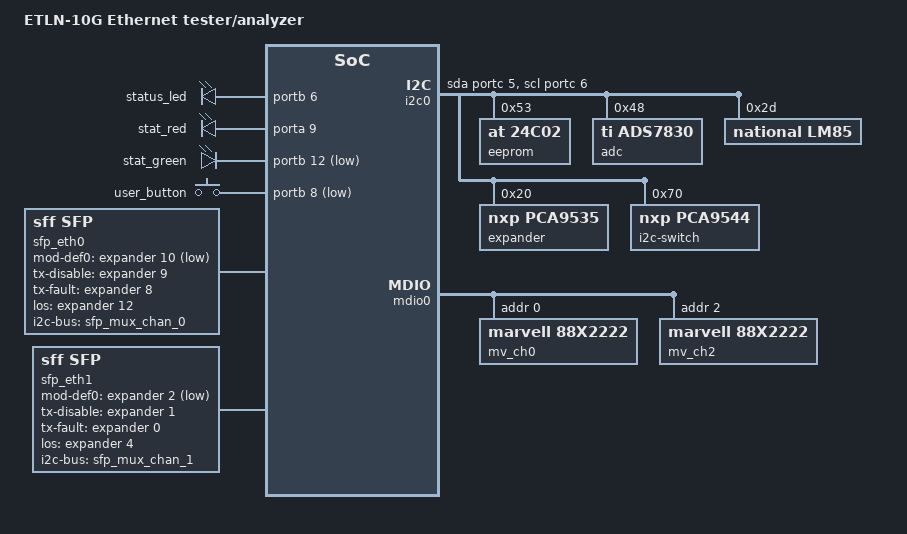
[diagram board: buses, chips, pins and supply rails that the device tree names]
/*
 * Copyright Altera Corporation (C) 2012,2014. All rights reserved.
 *
 * This program is free software; you can redistribute it and/or modify
 * it under the terms and conditions of the GNU General Public License,
 * version 2, as published by the Free Software Foundation.
 *
 * This program is distributed in the hope it will be useful, but WITHOUT
 * ANY WARRANTY; without even the implied warranty of MERCHANTABILITY or
 * FITNESS FOR A PARTICULAR PURPOSE.  See the GNU General Public License for
 * more details.
 *
 * You should have received a copy of the GNU General Public License along with
 * this program.  If not, see <http://www.gnu.org/licenses/>.
 */

#include "socfpga_cyclone5_stcmtk.dtsi"

/ {
	model = "ETLN-10G Ethernet tester/analyzer";

	cpu-gpio {
		compatible = "linux,gpio-exporter";
		status = "okay";
		exported-gpios = <&portb 19 GPIO_ACTIVE_HIGH>,
			<&portb 27 GPIO_ACTIVE_HIGH>,
			<&portb 22 GPIO_ACTIVE_HIGH>;
		exported-gpio-names = "sfpp-pwr-en",
			"devinfo-eeprom-write-protect",
			"smbus-alert";
		exported-gpio-directions = "high",
			"high",
			"in";
	};

	soc {
		ethernet@ff702000 {
			phy-mode = "rgmii-id";
		};

		i2c0: i2c@ffc04000 {
			scl-gpios = <&portc 6 GPIO_ACTIVE_HIGH>;
			sda-gpios = <&portc 5 GPIO_ACTIVE_HIGH>;

			eeprom@53 {
				compatible = "at,24c02";
				reg = <0x53>;
				status = "okay";
			};

			adc@48 {
				compatible = "ti,ads7830";
				reg = <0x48>;
				status = "okay";
			};

			lm85: lm85@2d {
				compatible = "national,lm85";
				reg = <0x2d>;
			};

			expander: pca9535@20 {
				compatible = "nxp,pca9535";
				gpio-controller;
				#gpio-cells = <2>;
				reg = <0x20>;
				pinctrl-names = "default";
				/*
				interrupt-parent = <&portb>;
				interrupts = <23 IRQ_TYPE_LEVEL_LOW>;
				interrupt-controller;
				#interrupt-cells = <2>;
				*/
			};

			i2c-switch@70 {
				compatible = "nxp,pca9544";
				#address-cells = <0x1>;
				#size-cells = <0x0>;
				reg = <0x70>;
				i2c-mux-idle-disconnect;

				/* The following two nodes describe I2C busses
				* located behind the MUX on channels 0 and 1
				* (indexed from 0).
				*/
				sfp_mux_chan_0: i2c@0 {
					#address-cells = <0x1>;
					#size-cells = <0x0>;
					reg = <0>;
				};

				sfp_mux_chan_1: i2c@1 {
					#address-cells = <0x1>;
					#size-cells = <0x0>;
					reg = <1>;
				};

				/* The following two nodes describe I2C mux
				* channels 2 and 3 (indexed from 0) that have
				* no devices connected to them.
				*
				* It would be great to disable them at all so
				* that they would not appear in sysfs but we
				* couldn't find an easy and obvious way to
				* achieve this.
				*/
				sfp_mux_chan_2: i2c@2 {
					#address-cells = <1>;
					#size-cells = <0>;
					reg = <2>;
				};
				sfp_mux_chan_3: i2c@3 {
					#address-cells = <1>;
					#size-cells = <0>;
					reg = <3>;
				};
			};

		};

		i2c1: i2c@ffc05000 {
			status = "disabled";
		};

		etn-port0 {
			compatible = "stcmtk,etln-10g";
			target-fpga = <&fpga>;
			port-num = <0>;
			phy-handle = <&mv_ch0>;
			phy-mode = "xaui";
			mac-address = [ 00 21 CE 01 00 01 ];
		};

		etn-port1 {
			compatible = "stcmtk,etln-10g";
			target-fpga = <&fpga>;
			port-num = <1>;
			phy-handle = <&mv_ch2>;
			phy-mode = "xaui";
			mac-address = [ 00 21 CE 01 00 02 ];
		};

		etn-phc@0 {
			reg = <0xc0020000 36>;
		};

		etn-phc@1 {
			reg = <0xc0020080 36>;
		};

		etn-phc-mux {
			reg = <0xc0020100 4>;
		};
	};


/*	etn-port0 {
		mac-address = [ 00 21 CE 01 00 01];
		compatible = "ethernet-phy-ieee802.3-c45";
		stcmtk,sfp-i2c-adapter = <&sfp_mux_chan_0>;
		stcmtk,sfp-mod-abs-gpio = <&expander 2 GPIO_ACTIVE_LOW>;
		stcmtk,sfp-tx-dis-gpio = <&expander 1 GPIO_ACTIVE_LOW>;
	};

	etn-port1 {
		mac-address = [ 00 21 CE 01 00 02];
		compatible = "ethernet-phy-ieee802.3-c45";
		stcmtk,sfp-i2c-adapter = <&sfp_mux_chan_1>;
		stcmtk,sfp-mod-abs-gpio = <&expander 10 GPIO_ACTIVE_LOW>;
		stcmtk,sfp-tx-dis-gpio = <&expander 9 GPIO_ACTIVE_LOW>;
	};

	etn-port2 {
		mac-address = [ 00 21 CE 01 00 03];
		compatible = "ethernet-phy-ieee802.3-c45";
		stcmtk,sfp-i2c-adapter = <&sfp_mux_chan_2>;
		stcmtk,sfp-mod-abs-gpio = <&expander 2 GPIO_ACTIVE_LOW>;
		stcmtk,sfp-tx-dis-gpio = <&expander 1 GPIO_ACTIVE_LOW>;
	};

	etn-port3 {
		mac-address = [ 00 21 CE 01 00 04];
		compatible = "ethernet-phy-ieee802.3-c45";
		stcmtk,sfp-i2c-adapter = <&sfp_mux_chan_3>;
		stcmtk,sfp-mod-abs-gpio = <&expander 10 GPIO_ACTIVE_LOW>;
		stcmtk,sfp-tx-dis-gpio = <&expander 9 GPIO_ACTIVE_LOW>;
	};*/

	leds-hps {
		compatible = "gpio-leds";
		hps0 {
			label = "status_led";
			gpios = <&portb 6 0>;
			linux,default-trigger = "default-on";
		};
		hps1 {
			label = "stat_red";
			gpios = <&porta 9 0>;
			default-state = "off";
			linux,default-trigger = "none";
		};
		hps2 {
			label = "stat_green";
			gpios = <&portb 12 1>;
			default-state = "off";
			linux,default-trigger = "heartbeat";
		};
	};

	gpio_keys {
		compatible = "gpio-keys";
		user_button {
			label = "user_button";
			gpios = <&portb 8 GPIO_ACTIVE_LOW>;
			linux,code = <2>;
			gpio-key,wakeup;
		};
	};

	sfp_eth0: sfp-eth0 {
		compatible = "sff,sfp";
		i2c-bus = <&sfp_mux_chan_0>;
		pinctrl-names = "default";
		mod-def0-gpios = <&expander 10 GPIO_ACTIVE_LOW>;
		tx-disable-gpios = <&expander 9 GPIO_ACTIVE_HIGH>;
		tx-fault-gpios  = <&expander 8 GPIO_ACTIVE_HIGH>;
		los-gpios = <&expander 12 GPIO_ACTIVE_HIGH>;
	};

	sfp_eth1: sfp-eth1 {
		compatible = "sff,sfp";
		i2c-bus = <&sfp_mux_chan_1>;
		pinctrl-names = "default";
		mod-def0-gpios = <&expander 2 GPIO_ACTIVE_LOW>;
		tx-disable-gpios = <&expander 1 GPIO_ACTIVE_HIGH>;
		tx-fault-gpios  = <&expander 0 GPIO_ACTIVE_HIGH>;
		los-gpios = <&expander 4 GPIO_ACTIVE_HIGH>;
	};

	mdio0: mdio-0 {
		compatible = "stcmtk,et-10g-mdio";
		target-fpga = <&fpga>;
		#address-cells = <1>;
		#size-cells = <0>;
		status = "okay";

		mv_ch0:88X2222@0 {
			compatible = "marvell,88x2222", "ethernet-phy-ieee802.3-c45";
			reg = <0x0>;
			phy-mode = "xgmii";
			mv,line-mode = "KR";
			mv,host-mode = "KX4";
			sfp = <&sfp_eth0>;
			status = "okay";
		};

		mv_ch1:88X2222@1 {
			compatible = "marvell,88x2222", "ethernet-phy-ieee802.3-c45";
			reg = <0x1>;
			phy-mode = "xgmii";
			mv,line-mode = "KR";
			mv,host-mode = "KX4";
			status = "disabled";
		};

		mv_ch2:88X2222@2 {
			compatible = "marvell,88x2222", "ethernet-phy-ieee802.3-c45";
			reg = <0x2>;
			phy-mode = "xgmii";
			mv,line-mode = "KR";
			mv,host-mode = "KX4";
			sfp = <&sfp_eth1>;
			status = "okay";
		};

		mv_ch3:88X2222@3 {
			compatible = "marvell,88x2222", "ethernet-phy-ieee802.3-c45";
			reg = <0x3>;
			phy-mode = "xgmii";
			mv,line-mode = "KR";
			mv,host-mode = "KX4";
			status = "disabled";
		};

	};
};
